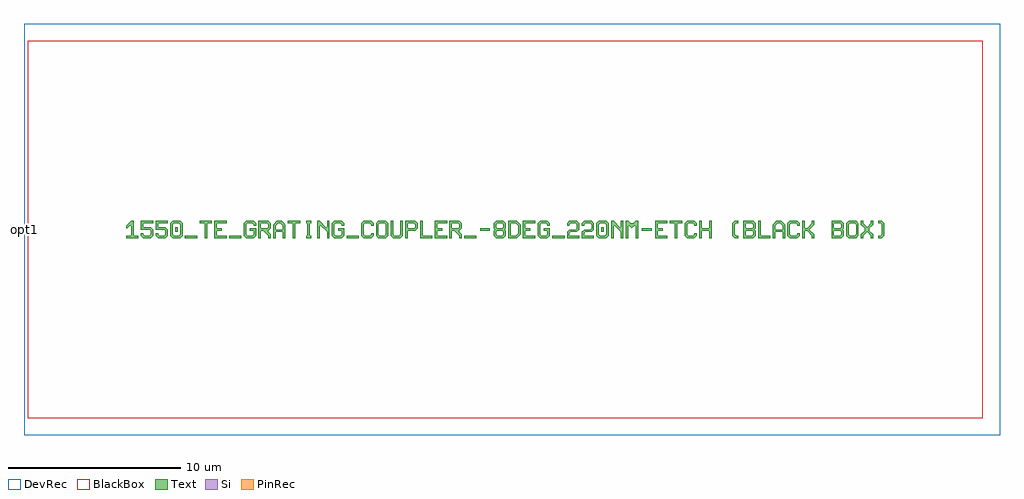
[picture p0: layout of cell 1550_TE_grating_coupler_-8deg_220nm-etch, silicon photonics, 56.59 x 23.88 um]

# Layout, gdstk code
import gdstk
lib = gdstk.Library(unit=1e-6, precision=1e-09)
def R(c, l, rs):  # rectangles x0, y0, x1, y1
    for r in rs: c.add(gdstk.rectangle(r[:2], r[2:], *l))
def A(c, l, x, y, w, h, nx, ny, dx, dy):  # array of equal rectangles
    R(c, l, [(x+i*dx, y+j*dy, x+i*dx+w, y+j*dy+h) for i in range(nx) for j in range(ny)])
def P(c, l, *ps):  # polygons
    for p in ps: c.add(gdstk.Polygon(p, *l))
Si = (1, 0)
PinRec = (1, 10)
Text = (10, 0)
DevRec = (68, 0)
BlackBox = (998, 0)

text = lib.new_cell('TEXT')
A(text, Text, 5.964, 0, 0.71, 0.142, 3, 1, 6.816, 0)
R(text, Text, [(3.408,0,4.118,0.142), (24.708,0,25.418,0.142), (2.84,0.355,2.982,0.639), (27.548,0.355,27.69,0.639), (20.519,0.426,21.087,0.568), (29.891,0.426,30.459,0.568)])
P(text, Text, [(0,0),(0,0.142),(0.284,0.142),(0.284,0.71),(0.213,0.71),(0.071,0.568),(0,0.568),(0,0.71),(0.284,0.994),(0.426,0.994),(0.426,0.142),(0.71,0.142),(0.71,0)],
  [(0.994,0),(0.852,0.142),(0.852,0.284),(0.994,0.284),(0.994,0.213),(1.065,0.142),(1.349,0.142),(1.42,0.213),(1.42,0.426),(1.349,0.497),(0.852,0.497),(0.852,0.994),(1.562,0.994),(1.562,0.852),(0.994,0.852),(0.994,0.639),(1.42,0.639),(1.562,0.497),(1.562,0.142),(1.42,0)],
  [(1.846,0),(1.704,0.142),(1.704,0.284),(1.846,0.284),(1.846,0.213),(1.917,0.142),(2.201,0.142),(2.272,0.213),(2.272,0.426),(2.201,0.497),(1.704,0.497),(1.704,0.994),(2.414,0.994),(2.414,0.852),(1.846,0.852),(1.846,0.639),(2.272,0.639),(2.414,0.497),(2.414,0.142),(2.272,0)],
  [(2.698,0),(2.556,0.142),(2.556,0.852),(2.698,0.994),(3.124,0.994),(3.266,0.852),(2.769,0.852),(2.698,0.781),(2.698,0.213),(2.769,0.142),(3.053,0.142),(3.124,0.213),(3.124,0.781),(3.053,0.852),(3.266,0.852),(3.266,0.142),(3.124,0)],
  [(4.544,0),(4.544,0.852),(4.26,0.852),(4.26,0.994),(4.97,0.994),(4.97,0.852),(4.686,0.852),(4.686,0)],
  [(5.112,0),(5.112,0.994),(5.822,0.994),(5.822,0.852),(5.254,0.852),(5.254,0.568),(5.538,0.568),(5.538,0.426),(5.254,0.426),(5.254,0.142),(5.822,0.142),(5.822,0)],
  [(6.958,0),(6.816,0.142),(6.816,0.852),(6.958,0.994),(7.384,0.994),(7.526,0.852),(7.526,0.71),(7.384,0.71),(7.384,0.781),(7.313,0.852),(7.029,0.852),(6.958,0.781),(6.958,0.213),(7.029,0.142),(7.313,0.142),(7.384,0.213),(7.384,0.426),(7.171,0.426),(7.171,0.568),(7.526,0.568),(7.526,0.142),(7.384,0)],
  [(7.668,0),(7.668,0.994),(8.236,0.994),(8.378,0.852),(7.81,0.852),(7.81,0.568),(8.165,0.568),(8.236,0.639),(8.236,0.781),(8.165,0.852),(8.378,0.852),(8.378,0.568),(8.236,0.426),(8.236,0.355),(8.378,0.213),(8.378,0),(8.236,0),(8.236,0.142),(7.952,0.426),(7.81,0.426),(7.81,0)],
  [(8.52,0),(8.52,0.781),(8.733,0.994),(9.017,0.994),(9.159,0.852),(8.804,0.852),(8.662,0.71),(8.662,0.497),(9.088,0.497),(9.088,0.71),(8.946,0.852),(9.159,0.852),(9.23,0.781),(9.23,0),(9.088,0),(9.088,0.355),(8.662,0.355),(8.662,0)],
  [(9.656,0),(9.656,0.852),(9.372,0.852),(9.372,0.994),(10.082,0.994),(10.082,0.852),(9.798,0.852),(9.798,0)],
  [(10.437,0),(10.437,0.142),(10.508,0.142),(10.508,0.852),(10.437,0.852),(10.437,0.994),(10.721,0.994),(10.721,0.852),(10.65,0.852),(10.65,0.142),(10.721,0.142),(10.721,0)],
  [(11.076,0),(11.076,0.994),(11.218,0.994),(11.573,0.639),(11.644,0.639),(11.644,0.994),(11.786,0.994),(11.786,0),(11.644,0),(11.644,0.355),(11.289,0.71),(11.218,0.71),(11.218,0)],
  [(12.07,0),(11.928,0.142),(11.928,0.852),(12.07,0.994),(12.496,0.994),(12.638,0.852),(12.638,0.71),(12.496,0.71),(12.496,0.781),(12.425,0.852),(12.141,0.852),(12.07,0.781),(12.07,0.213),(12.141,0.142),(12.425,0.142),(12.496,0.213),(12.496,0.426),(12.283,0.426),(12.283,0.568),(12.638,0.568),(12.638,0.142),(12.496,0)],
  [(13.774,0),(13.632,0.142),(13.632,0.852),(13.774,0.994),(14.2,0.994),(14.342,0.852),(14.342,0.71),(14.2,0.71),(14.2,0.781),(14.129,0.852),(13.845,0.852),(13.774,0.781),(13.774,0.213),(13.845,0.142),(14.129,0.142),(14.2,0.213),(14.2,0.284),(14.342,0.284),(14.342,0.142),(14.2,0)],
  [(14.626,0),(14.484,0.142),(14.484,0.852),(14.626,0.994),(15.052,0.994),(15.194,0.852),(15.194,0.497),(15.052,0.497),(15.052,0.781),(14.981,0.852),(14.697,0.852),(14.626,0.781),(14.626,0.213),(14.697,0.142),(14.981,0.142),(15.052,0.213),(15.052,0.497),(15.194,0.497),(15.194,0.142),(15.052,0)],
  [(15.478,0),(15.336,0.142),(15.336,0.994),(15.478,0.994),(15.478,0.213),(15.549,0.142),(15.833,0.142),(15.904,0.213),(15.904,0.994),(16.046,0.994),(16.046,0.142),(15.904,0)],
  [(16.188,0),(16.188,0.994),(16.756,0.994),(16.898,0.852),(16.898,0.568),(16.756,0.426),(16.33,0.426),(16.33,0.568),(16.685,0.568),(16.756,0.639),(16.756,0.781),(16.685,0.852),(16.33,0.852),(16.33,0)],
  [(17.04,0),(17.04,0.994),(17.182,0.994),(17.182,0.142),(17.75,0.142),(17.75,0)],
  [(17.892,0),(17.892,0.994),(18.602,0.994),(18.602,0.852),(18.034,0.852),(18.034,0.568),(18.318,0.568),(18.318,0.426),(18.034,0.426),(18.034,0.142),(18.602,0.142),(18.602,0)],
  [(18.744,0),(18.744,0.994),(19.312,0.994),(19.454,0.852),(18.886,0.852),(18.886,0.568),(19.241,0.568),(19.312,0.639),(19.312,0.781),(19.241,0.852),(19.454,0.852),(19.454,0.568),(19.312,0.426),(19.312,0.355),(19.454,0.213),(19.454,0),(19.312,0),(19.312,0.142),(19.028,0.426),(18.886,0.426),(18.886,0)],
  [(21.442,0),(21.3,0.142),(21.3,0.426),(21.371,0.497),(21.3,0.568),(21.3,0.852),(21.442,0.994),(21.868,0.994),(22.01,0.852),(21.513,0.852),(21.442,0.781),(21.442,0.639),(21.513,0.568),(21.797,0.568),(21.868,0.639),(21.868,0.781),(21.797,0.852),(22.01,0.852),(22.01,0.568),(21.939,0.497),(22.01,0.426),(21.513,0.426),(21.442,0.355),(21.442,0.213),(21.513,0.142),(21.797,0.142),(21.868,0.213),(21.868,0.355),(21.797,0.426),(22.01,0.426),(22.01,0.142),(21.868,0)],
  [(22.152,0),(22.152,0.994),(22.649,0.994),(22.791,0.852),(22.294,0.852),(22.294,0.142),(22.578,0.142),(22.72,0.284),(22.72,0.71),(22.578,0.852),(22.791,0.852),(22.862,0.781),(22.862,0.213),(22.649,0)],
  [(23.004,0),(23.004,0.994),(23.714,0.994),(23.714,0.852),(23.146,0.852),(23.146,0.568),(23.43,0.568),(23.43,0.426),(23.146,0.426),(23.146,0.142),(23.714,0.142),(23.714,0)],
  [(23.998,0),(23.856,0.142),(23.856,0.852),(23.998,0.994),(24.424,0.994),(24.566,0.852),(24.566,0.71),(24.424,0.71),(24.424,0.781),(24.353,0.852),(24.069,0.852),(23.998,0.781),(23.998,0.213),(24.069,0.142),(24.353,0.142),(24.424,0.213),(24.424,0.426),(24.211,0.426),(24.211,0.568),(24.566,0.568),(24.566,0.142),(24.424,0)],
  [(25.56,0),(25.56,0.355),(25.702,0.497),(26.057,0.497),(26.128,0.568),(26.128,0.781),(26.057,0.852),(25.773,0.852),(25.702,0.781),(25.702,0.71),(25.56,0.71),(25.56,0.852),(25.702,0.994),(26.128,0.994),(26.27,0.852),(26.27,0.497),(26.128,0.355),(25.773,0.355),(25.702,0.284),(25.702,0.142),(26.27,0.142),(26.27,0)],
  [(26.412,0),(26.412,0.355),(26.554,0.497),(26.909,0.497),(26.98,0.568),(26.98,0.781),(26.909,0.852),(26.625,0.852),(26.554,0.781),(26.554,0.71),(26.412,0.71),(26.412,0.852),(26.554,0.994),(26.98,0.994),(27.122,0.852),(27.122,0.497),(26.98,0.355),(26.625,0.355),(26.554,0.284),(26.554,0.142),(27.122,0.142),(27.122,0)],
  [(27.406,0),(27.264,0.142),(27.264,0.852),(27.406,0.994),(27.832,0.994),(27.974,0.852),(27.477,0.852),(27.406,0.781),(27.406,0.213),(27.477,0.142),(27.761,0.142),(27.832,0.213),(27.832,0.781),(27.761,0.852),(27.974,0.852),(27.974,0.142),(27.832,0)],
  [(28.116,0),(28.116,0.994),(28.258,0.994),(28.613,0.639),(28.684,0.639),(28.684,0.994),(28.826,0.994),(28.826,0),(28.684,0),(28.684,0.355),(28.329,0.71),(28.258,0.71),(28.258,0)],
  [(28.968,0),(28.968,0.994),(29.11,0.994),(29.252,0.852),(29.394,0.852),(29.536,0.994),(29.678,0.994),(29.678,0),(29.536,0),(29.536,0.71),(29.465,0.71),(29.323,0.568),(29.181,0.71),(29.11,0.71),(29.11,0)],
  [(30.672,0),(30.672,0.994),(31.382,0.994),(31.382,0.852),(30.814,0.852),(30.814,0.568),(31.098,0.568),(31.098,0.426),(30.814,0.426),(30.814,0.142),(31.382,0.142),(31.382,0)],
  [(31.808,0),(31.808,0.852),(31.524,0.852),(31.524,0.994),(32.234,0.994),(32.234,0.852),(31.95,0.852),(31.95,0)],
  [(32.518,0),(32.376,0.142),(32.376,0.852),(32.518,0.994),(32.944,0.994),(33.086,0.852),(33.086,0.71),(32.944,0.71),(32.944,0.781),(32.873,0.852),(32.589,0.852),(32.518,0.781),(32.518,0.213),(32.589,0.142),(32.873,0.142),(32.944,0.213),(32.944,0.284),(33.086,0.284),(33.086,0.142),(32.944,0)],
  [(33.228,0),(33.228,0.994),(33.37,0.994),(33.37,0.568),(33.796,0.568),(33.796,0.994),(33.938,0.994),(33.938,0),(33.796,0),(33.796,0.426),(33.37,0.426),(33.37,0)],
  [(35.287,0),(35.145,0.142),(35.145,0.852),(35.287,0.994),(35.5,0.994),(35.5,0.852),(35.358,0.852),(35.287,0.781),(35.287,0.213),(35.358,0.142),(35.5,0.142),(35.5,0)],
  [(35.784,0),(35.784,0.994),(36.352,0.994),(36.494,0.852),(35.926,0.852),(35.926,0.568),(36.281,0.568),(36.352,0.639),(36.352,0.781),(36.281,0.852),(36.494,0.852),(36.494,0.568),(36.423,0.497),(36.494,0.426),(35.926,0.426),(35.926,0.142),(36.281,0.142),(36.352,0.213),(36.352,0.355),(36.281,0.426),(36.494,0.426),(36.494,0.142),(36.352,0)],
  [(36.636,0),(36.636,0.994),(36.778,0.994),(36.778,0.142),(37.346,0.142),(37.346,0)],
  [(37.488,0),(37.488,0.781),(37.701,0.994),(37.985,0.994),(38.127,0.852),(37.772,0.852),(37.63,0.71),(37.63,0.497),(38.056,0.497),(38.056,0.71),(37.914,0.852),(38.127,0.852),(38.198,0.781),(38.198,0),(38.056,0),(38.056,0.355),(37.63,0.355),(37.63,0)],
  [(38.482,0),(38.34,0.142),(38.34,0.852),(38.482,0.994),(38.908,0.994),(39.05,0.852),(39.05,0.71),(38.908,0.71),(38.908,0.781),(38.837,0.852),(38.553,0.852),(38.482,0.781),(38.482,0.213),(38.553,0.142),(38.837,0.142),(38.908,0.213),(38.908,0.284),(39.05,0.284),(39.05,0.142),(38.908,0)],
  [(39.192,0),(39.192,0.994),(39.334,0.994),(39.334,0.568),(39.476,0.568),(39.76,0.852),(39.76,0.994),(39.902,0.994),(39.902,0.781),(39.618,0.497),(39.902,0.213),(39.902,0),(39.76,0),(39.76,0.142),(39.476,0.426),(39.334,0.426),(39.334,0)],
  [(40.896,0),(40.896,0.994),(41.464,0.994),(41.606,0.852),(41.038,0.852),(41.038,0.568),(41.393,0.568),(41.464,0.639),(41.464,0.781),(41.393,0.852),(41.606,0.852),(41.606,0.568),(41.535,0.497),(41.606,0.426),(41.038,0.426),(41.038,0.142),(41.393,0.142),(41.464,0.213),(41.464,0.355),(41.393,0.426),(41.606,0.426),(41.606,0.142),(41.464,0)],
  [(41.89,0),(41.748,0.142),(41.748,0.852),(41.89,0.994),(42.316,0.994),(42.458,0.852),(42.458,0.497),(42.316,0.497),(42.316,0.781),(42.245,0.852),(41.961,0.852),(41.89,0.781),(41.89,0.213),(41.961,0.142),(42.245,0.142),(42.316,0.213),(42.316,0.497),(42.458,0.497),(42.458,0.142),(42.316,0)],
  [(42.6,0),(42.6,0.213),(42.813,0.426),(42.813,0.568),(42.6,0.781),(42.6,0.994),(42.742,0.994),(42.742,0.852),(42.955,0.639),(43.168,0.852),(43.168,0.994),(43.31,0.994),(43.31,0.781),(43.097,0.568),(43.097,0.426),(43.31,0.213),(43.31,0),(43.168,0),(43.168,0.142),(42.955,0.355),(42.742,0.142),(42.742,0)],
  [(43.594,0),(43.594,0.142),(43.736,0.142),(43.807,0.213),(43.807,0.781),(43.736,0.852),(43.594,0.852),(43.594,0.994),(43.807,0.994),(43.949,0.852),(43.949,0.142),(43.807,0)])

c_1550_te_grating_coupler_ = lib.new_cell('1550_TE_grating_coupler_-8deg_220nm-etch')
R(c_1550_te_grating_coupler_, Si, [(-27.79,-0.25,-27.59,0.25)])
R(c_1550_te_grating_coupler_, DevRec, [(-27.79,-11.941,28.79,11.941)])
R(c_1550_te_grating_coupler_, BlackBox, [(-27.59,-10.941,27.79,10.941)])
c_1550_te_grating_coupler_.add(gdstk.FlexPath([(-27.78,0),(-27.8,0)], 0.5, ends="flush", simple_path=True, layer=1, datatype=10))  # PinRec
c_1550_te_grating_coupler_.add(gdstk.Reference(text, (-21.874,-0.497)))
c_1550_te_grating_coupler_.add(gdstk.Label('opt1', (-27.79,0), layer=1, texttype=10))

lib.write_gds('1550_TE_grating_coupler_-8deg_220nm-etch.gds')
